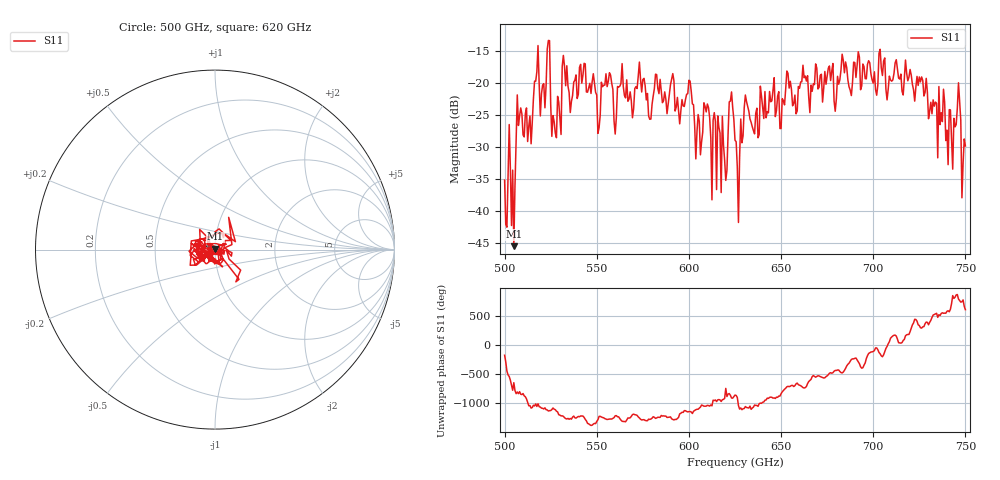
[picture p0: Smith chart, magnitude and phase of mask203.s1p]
!Created with skrf (http://scikit-rf.org).
# GHz S MA R 50.0
!freq magS11 angS11
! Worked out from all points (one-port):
!   401 points, 500 GHz to 750 GHz, reference 50 ohm
!   lowest |S11| = -45.6 dB at 505 GHz (marker M1), VSWR 1.01, Z = 50.2 + j0.493 ohm
!   |S11| at or under -10 dB: start of sweep to end of sweep
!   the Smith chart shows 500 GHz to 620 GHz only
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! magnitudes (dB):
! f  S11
! 500 GHz  -35.2
! 505 GHz  -45.6
! 507.5 GHz  -26.7
! 513.8 GHz  -25.2
! 517.5 GHz  -18.3
! 520.6 GHz  -20.4
! 523.8 GHz  -13.4
! 526.9 GHz  -26.1
! 531.2 GHz  -17.5
! 542.5 GHz  -18.8
! 550.6 GHz  -27.9
! 562.5 GHz  -20.6
! 590.6 GHz  -19.5
! 593.8 GHz  -22.3
! 600 GHz  -19.6
! 605 GHz  -25.0
! 609.4 GHz  -24.6
! 618.8 GHz  -29.7
! 623.1 GHz  -21.4
! 625 GHz  -29.0
! 626.2 GHz  -33.2
! 631.2 GHz  -22.9
! 656.2 GHz  -23.6
! 687.5 GHz  -21.2
! 718.8 GHz  -19.7
! 741.9 GHz  -24.3
! 746.2 GHz  -20.0
! 750 GHz  -29.9
